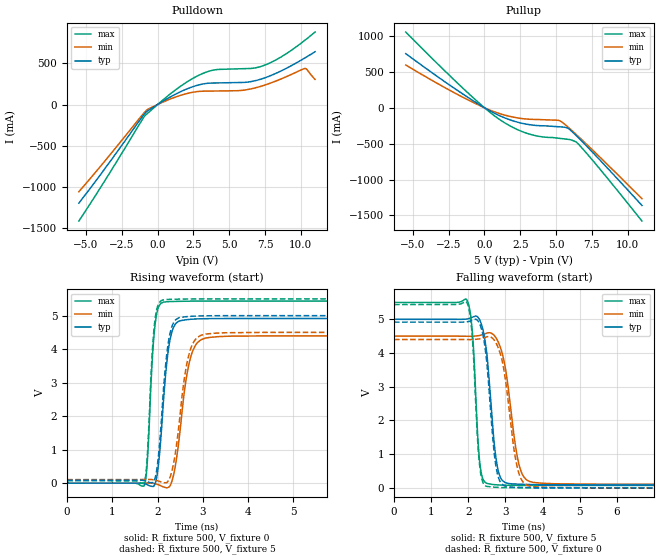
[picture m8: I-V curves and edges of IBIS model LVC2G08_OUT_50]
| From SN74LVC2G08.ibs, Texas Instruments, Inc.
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[Model]   LVC2G08_OUT_50
Model_type  Output
Vref =   0
Rref =   500
Cref =   50p
Vmeas =   2.5
| variable   typ   min   max
C_comp   8.08pF   6.05pF   10.97pF
| C_pullup   8.02pF   6.06pF   9.05pF
| C_pulldown   8.14pF   6.05pF   10.97pF
[Temperature Range]   40   100   -40
| Ambient temperature   25   85   -40
[Voltage range]   5   4.5   5.5
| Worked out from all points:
|   slope of the pulldown table from 0 to 0.75 V, typ, clamps not added: 9.58 ohm
|   slope of the pullup table from 0 to 0.75 V, typ, clamps not added: 9.16 ohm
|   rising waveform, R_fixture 500, V_fixture 0: 20-80 % time 183ps typ, 254ps min, 125ps max; typ from 0 V to 4.91 V
|   falling waveform, R_fixture 500, V_fixture 5: 20-80 % time 228ps typ, 322ps min, 152ps max; typ from 5 V to 0.09 V
|   rising waveform, R_fixture 500, V_fixture 5: 20-80 % time 182ps typ, 253ps min, 122ps max; typ from 0.09 V to 5 V
|   falling waveform, R_fixture 500, V_fixture 0: 20-80 % time 226ps typ, 314ps min, 155ps max; typ from 4.92 V to 0 V
[Pulldown]
| LVC2G08_OUT_50
|   Voltage   I(typ)   I(min)   I(max)
-5.5V     -1.198A    -1.059A    -1.415A
-940mV    -118.4mA   -100.1mA   -148.6mA
-645mV    -71.01mA   -53.56mA   -98.24mA
800mV     83.29mA    61.2mA     116.9mA
2.295V    206.2mA    143.4mA    300.5mA
3.555V    259mA      163mA      402.9mA
5.915V    268.2mA    172.5mA    435.1mA
6.785V    288mA      200.6mA    444mA
7.565V    329.2mA    240.8mA    484mA
8.805V    423.4mA    324.2mA    597mA
10.28V    565mA      437.4mA    779.4mA
11V       641.2mA    305.2mA    880.8mA
[Pullup]
| LVC2G08_OUT_50
|   Voltage   I(typ)   I(min)   I(max)
-5.5V     754.1mA    595.8mA    1.056A
-1.395V   175.7mA    134.4mA    251.7mA
120mV     -14.19mA   -10.6mA    -20.68mA
1.01V     -106.5mA   -78.04mA   -157.5mA
2.025V    -184.2mA   -131mA     -278mA
3.035V    -232.2mA   -158.5mA   -360.4mA
3.94V     -250.5mA   -165.2mA   -402.4mA
5.3V      -265.9mA   -185.4mA   -427.7mA
5.83V     -285.1mA   -268.2mA   -440mA
6.53V     -411.2mA   -395.2mA   -500.3mA
8.1V      -736mA     -695.6mA   -863mA
11V       -1.361A    -1.267A    -1.578A
[Ramp]
| LVC2G08_OUT_50
| variable   typ   min   max
dV/dt_r   3.01/1.89E-10   2.72/2.66E-10   3.31/1.30E-10
dV/dt_f   3.01/2.45E-10   2.70/3.38E-10   3.32/1.59E-10
R_load = 500
[Rising Waveform]
| LVC2G08_OUT_50
R_fixture =   500
C_fixture =   0
L_fixture =   0
V_fixture =   0
V_fixture_min = 0
V_fixture_max = 0
|   Time   V(typ)   V(min)   V(max)
0s        181.8pV    4.248nV    2.382nV
1.7ns     -11.78mV   1.574mV    -83.6mV
1.77ns    -44.3mV    3.589mV    590.2mV
1.94ns    -27.48mV   -14.81mV   4.679V
2.135ns   2.548V     -113.5mV   5.404V
2.25ns    4.09V      -115.3mV   5.418V
2.38ns    4.719V     425.7mV    5.424V
2.725ns   4.89V      3.733V     5.431V
3.145ns   4.91V      4.349V     5.435V
24.99ns   4.914V     4.396V     5.435V
[Falling Waveform]
| LVC2G08_OUT_50
R_fixture =   500
C_fixture =   0
L_fixture =   0
V_fixture =   5
V_fixture_min = 4.5
V_fixture_max = 5.5
|   Time   V(typ)   V(min)   V(max)
0s        5V         4.5V       5.5V
1.97ns    5.011V     4.498V     5.561V
2.12ns    5.066V     4.498V     4.478V
2.315ns   4.964V     4.524V     688.9mV
2.575ns   3.016V     4.602V     114.2mV
2.725ns   1.054V     4.483V     92.91mV
2.87ns    299.2mV    4.144V     83.32mV
3.36ns    108.8mV    709.2mV    73.77mV
3.755ns   96.06mV    160.4mV    72.16mV
24.99ns   89.64mV    107.6mV    71.35mV
[Rising Waveform]
| LVC2G08_OUT_50
R_fixture =   500
C_fixture =   0
L_fixture =   0
V_fixture =   5
V_fixture_min = 4.5
V_fixture_max = 5.5
|   Time   V(typ)   V(min)   V(max)
0s        89.62mV    107.6mV    71.33mV
1.7ns     78.63mV    109.1mV    7.768mV
1.765ns   51.94mV    110.9mV    664.1mV
1.93ns    88.58mV    96.73mV    4.733V
2.025ns   904.2mV    61.84mV    5.364V
2.145ns   3.055V     14.49mV    5.475V
2.375ns   4.834V     754.8mV    5.489V
2.68ns    4.974V     3.772V     5.496V
3.065ns   4.995V     4.449V     5.499V
24.99ns   5V         4.5V       5.5V
[Falling Waveform]
| LVC2G08_OUT_50
R_fixture =   500
C_fixture =   0
L_fixture =   0
V_fixture =   0
V_fixture_min = 0
V_fixture_max = 0
|   Time   V(typ)   V(min)   V(max)
0s        4.917V     4.401V     5.437V
1.97ns    4.928V     4.399V     5.48V
2.11ns    4.974V     4.399V     4.435V
2.3ns     4.882V     4.42V      722.8mV
2.495ns   3.748V     4.478V     43.92mV
2.69ns    1.107V     4.393V     21.11mV
2.815ns   290.7mV    4.13V      12.78mV
3.32ns    16.05mV    599.6mV    2.4mV
3.68ns    6.073mV    46.78mV    900.6uV
24.99ns   16.6uV     20.9uV     13.88uV
